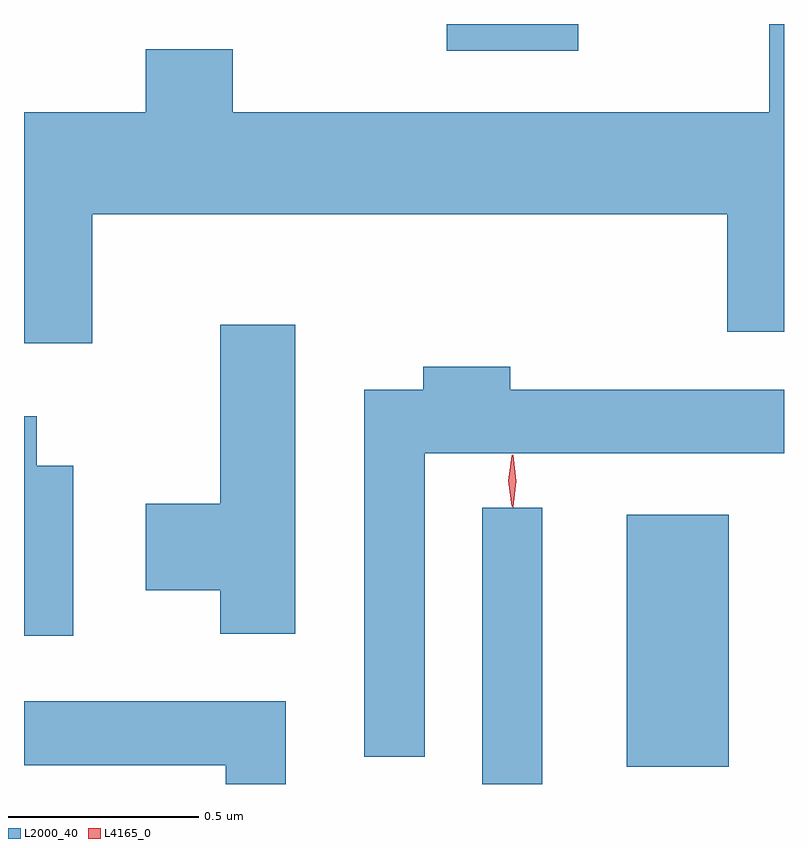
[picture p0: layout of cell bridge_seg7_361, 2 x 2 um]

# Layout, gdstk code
import gdstk
lib = gdstk.Library(unit=1e-6, precision=1e-09)
def R(c, l, rs):  # rectangles x0, y0, x1, y1
    for r in rs: c.add(gdstk.rectangle(r[:2], r[2:], *l))
def P(c, l, *ps):  # polygons
    for p in ps: c.add(gdstk.Polygon(p, *l))
L2000_40 = (2000, 40)
L4165_0 = (4165, 0)

bridge_seg7_361 = lib.new_cell('bridge_seg7_361')
R(bridge_seg7_361, L2000_40, [(1178.356,1759.436,1178.514,1760.163), (1178.736,1759.481,1179.004,1760.144), (1178.263,1761.366,1178.609,1761.436)])
P(bridge_seg7_361, L2000_40, [(1177.329,1760.936),(1179.001,1760.936),(1179.001,1760.626),(1179.15,1760.626),(1179.15,1761.436),(1179.111,1761.436),(1179.111,1761.204),(1177.699,1761.204),(1177.699,1761.369),(1177.471,1761.369),(1177.471,1761.204),(1177.15,1761.204),(1177.15,1760.596),(1177.329,1760.596)],
  [(1177.864,1760.644),(1177.666,1760.644),(1177.666,1760.174),(1177.471,1760.174),(1177.471,1759.946),(1177.666,1759.946),(1177.666,1759.831),(1177.864,1759.831)],
  [(1178.204,1760.306),(1179.15,1760.306),(1179.15,1760.474),(1178.429,1760.474),(1178.429,1760.534),(1178.201,1760.534),(1178.201,1760.474),(1178.046,1760.474),(1178.046,1759.508),(1178.204,1759.508)],
  [(1177.279,1760.274),(1177.184,1760.274),(1177.184,1760.404),(1177.15,1760.404),(1177.15,1759.826),(1177.279,1759.826)],
  [(1177.839,1759.654),(1177.15,1759.654),(1177.15,1759.486),(1177.681,1759.486),(1177.681,1759.436),(1177.839,1759.436)])
P(bridge_seg7_361, L4165_0, [(1178.436,1760.164),(1178.436,1760.164),(1178.426,1760.233),(1178.436,1760.302),(1178.436,1760.303),(1178.437,1760.302),(1178.446,1760.233),(1178.437,1760.164)],
  [(1178.434,1760.167),(1178.434,1760.167),(1178.424,1760.234),(1178.434,1760.3),(1178.434,1760.301),(1178.435,1760.3),(1178.444,1760.234),(1178.435,1760.167)])

lib.write_gds('bridge_seg7_361.gds')
